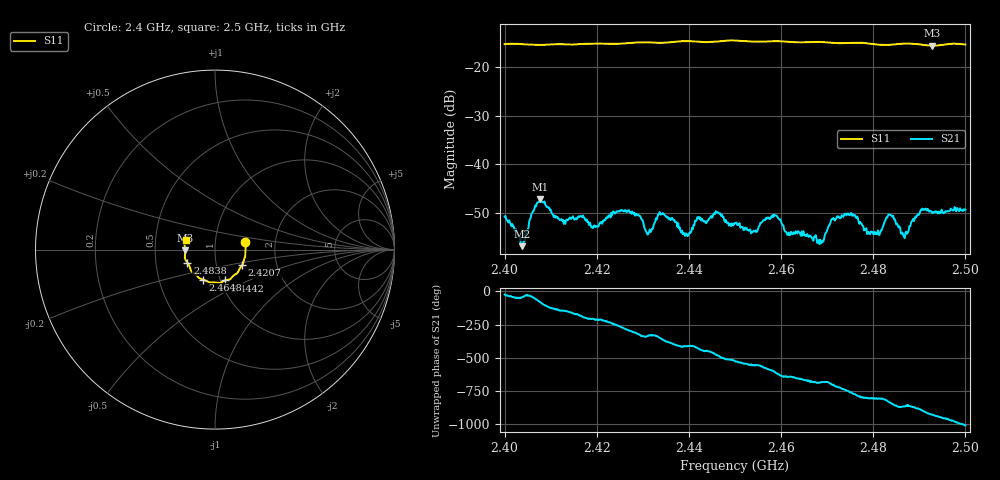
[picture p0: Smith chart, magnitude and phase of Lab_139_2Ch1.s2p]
# Hz S RI R 50
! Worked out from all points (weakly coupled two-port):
!   601 points, 2.4 GHz to 2.5 GHz, reference 50 ohm
!   highest |S21| = -47.22 dB at 2.4077 GHz (marker M1); lowest = -56.9 dB at 2.4038 GHz (marker M2)
!   lowest |S11| = -15.6 dB at 2.4928 GHz (marker M3), VSWR 1.40, Z = 35.7 - j0.363 ohm
!   |S11| at or under -10 dB: start of sweep to end of sweep
!   S12 and S22 are empty: the file has one direction only
!   S11 on the Smith chart (normalised r, x): 2.4 GHz: 1.40, +0.12; 2.4207 GHz: 1.33, -0.24; 2.4442 GHz: 1.05, -0.37; 2.4648 GHz: 0.83, -0.29; 2.4838 GHz: 0.73, -0.11; 2.5 GHz: 0.72, +0.08
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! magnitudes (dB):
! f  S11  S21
! 2.4 GHz  -15.3  -50.8
! 2.4038 GHz  -15.3  -56.9
! 2.4077 GHz  -15.4  -47.2
! 2.4167 GHz  -15.2  -50.7
! 2.4207 GHz  -15.2  -52.0
! 2.4265 GHz  -15.1  -49.9
! 2.4312 GHz  -14.9  -54.4
! 2.4333 GHz  -15.0  -50.3
! 2.4395 GHz  -14.6  -54.3
! 2.4442 GHz  -14.9  -51.6
! 2.45 GHz  -14.5  -52.2
! 2.454 GHz  -14.8  -53.7
! 2.4587 GHz  -14.7  -50.5
! 2.4648 GHz  -14.9  -53.8
! 2.4667 GHz  -14.8  -55.2
! 2.4742 GHz  -15.1  -50.5
! 2.481 GHz  -15.4  -53.6
! 2.4833 GHz  -15.4  -50.3
! 2.4838 GHz  -15.4  -50.5
! 2.4865 GHz  -15.2  -54.6
! 2.4928 GHz  -15.6  -50.1
! 2.5 GHz  -15.3  -49.4
